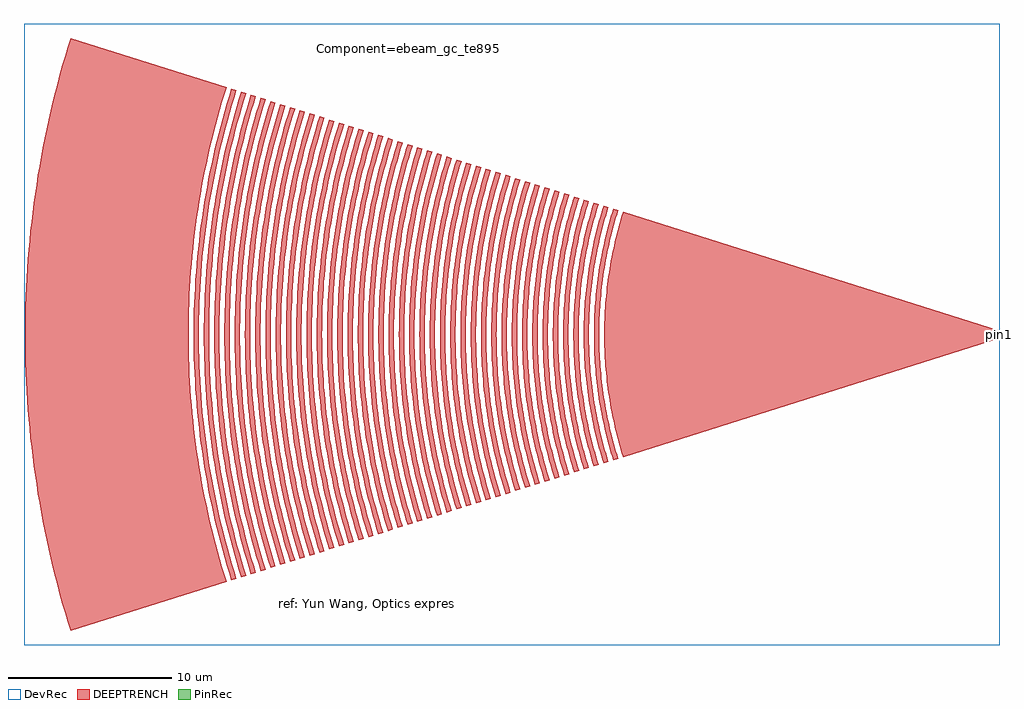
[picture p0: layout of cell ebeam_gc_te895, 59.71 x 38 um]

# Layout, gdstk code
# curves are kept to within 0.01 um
from math import pi, radians
import gdstk
lib = gdstk.Library(unit=1e-6, precision=1e-09)
def R(c, l, rs):  # rectangles x0, y0, x1, y1
    for r in rs: c.add(gdstk.rectangle(r[:2], r[2:], *l))
def P(c, l, *ps):  # polygons
    for p in ps: c.add(gdstk.Polygon(p, *l))
PinRec = (1, 10)
DEEPTRENCH = (4, 0)
DevRec = (68, 0)

input_section = lib.new_cell('input$section')
P(input_section, DEEPTRENCH, [(-1.152,-7.5),(-24.2,-0.225),(-24.2,0.225),(-1.152,7.5),(-0.883,6.586),(-0.65,5.663),(-0.452,4.732),(-0.29,3.794),(-0.163,2.85),(-0.072,1.902),(-0.018,0.952),(0,0),(-0.018,-0.952),(-0.072,-1.902),(-0.163,-2.85),(-0.29,-3.794),(-0.452,-4.732),(-0.65,-5.663),(-0.883,-6.586)])

output_section = lib.new_cell('output$section')
P(output_section, DEEPTRENCH, [(32.65,-18.13),(23.111,-15.13),(23.652,-13.287),(24.123,-11.425),(24.522,-9.546),(24.85,-7.654),(25.105,-5.75),(25.288,-3.838),(25.397,-1.92),(25.434,0),(25.397,1.92),(25.288,3.838),(25.105,5.75),(24.85,7.654),(24.522,9.546),(24.123,11.425),(23.652,13.287),(23.111,15.13),(32.65,18.13),(32.985,17.029),(33.299,15.922),(33.592,14.809),(33.863,13.69),(34.113,12.567),(34.341,11.439),(34.549,10.307),(34.734,9.171),(34.898,8.032),(35.04,6.89),(35.16,5.746),(35.259,4.599),(35.335,3.451),(35.39,2.301),(35.423,1.151),(35.434,0),(35.423,-1.151),(35.39,-2.301),(35.335,-3.451),(35.259,-4.599),(35.16,-5.746),(35.04,-6.89),(34.898,-8.032),(34.734,-9.171),(34.549,-10.307),(34.341,-11.439),(34.113,-12.567),(33.863,-13.69),(33.592,-14.809),(33.299,-15.922),(32.985,-17.029)])

ring = lib.new_cell('ring')
P(ring, DEEPTRENCH, [(-0.552,-7.688),(-0.852,-7.594),(-0.58,-6.669),(-0.344,-5.735),(-0.144,-4.792),(0.021,-3.842),(0.149,-2.886),(0.241,-1.926),(0.296,-0.964),(0.314,0),(0.296,0.964),(0.241,1.926),(0.149,2.886),(0.021,3.842),(-0.144,4.792),(-0.344,5.735),(-0.58,6.669),(-0.852,7.594),(-0.552,7.688),(-0.277,6.752),(-0.038,5.806),(0.165,4.851),(0.331,3.889),(0.461,2.922),(0.554,1.95),(0.609,0.976),(0.628,0),(0.609,-0.976),(0.554,-1.95),(0.461,-2.922),(0.331,-3.889),(0.165,-4.851),(-0.038,-5.806),(-0.277,-6.752)])

ring2 = lib.new_cell('ring2')
P(ring2, DEEPTRENCH, [(0.047,-7.877),(-0.253,-7.783),(0.025,-6.835),(0.268,-5.877),(0.473,-4.91),(0.642,-3.937),(0.773,-2.958),(0.867,-1.974),(0.923,-0.988),(0.942,0),(0.923,0.988),(0.867,1.974),(0.773,2.958),(0.642,3.937),(0.473,4.91),(0.268,5.877),(0.025,6.835),(-0.253,7.783),(0.047,7.877),(0.328,6.917),(0.573,5.948),(0.781,4.97),(0.952,3.985),(1.085,2.993),(1.18,1.998),(1.237,1),(1.256,0),(1.237,-1),(1.18,-1.998),(1.085,-2.993),(0.952,-3.985),(0.781,-4.97),(0.573,-5.948),(0.328,-6.917)])

ring3 = lib.new_cell('ring3')
P(ring3, DEEPTRENCH, [(0.646,-8.065),(0.346,-7.971),(0.631,-7),(0.879,-6.019),(1.09,-5.029),(1.262,-4.032),(1.397,-3.029),(1.493,-2.022),(1.551,-1.012),(1.57,0),(1.551,1.012),(1.493,2.022),(1.397,3.029),(1.262,4.032),(1.09,5.029),(0.879,6.019),(0.631,7),(0.346,7.971),(0.646,8.065),(0.934,7.083),(1.185,6.09),(1.398,5.089),(1.573,4.08),(1.709,3.065),(1.806,2.046),(1.865,1.024),(1.884,0),(1.865,-1.024),(1.806,-2.046),(1.709,-3.065),(1.573,-4.08),(1.398,-5.089),(1.185,-6.09),(0.934,-7.083)])

ring4 = lib.new_cell('ring4')
P(ring4, DEEPTRENCH, [(1.245,-8.254),(0.945,-8.159),(1.237,-7.166),(1.491,-6.161),(1.706,-5.148),(1.883,-4.128),(2.021,-3.101),(2.119,-2.07),(2.178,-1.036),(2.198,0),(2.178,1.036),(2.119,2.07),(2.021,3.101),(1.883,4.128),(1.706,5.148),(1.491,6.161),(1.237,7.166),(0.945,8.159),(1.245,8.254),(1.54,7.248),(1.797,6.232),(2.015,5.208),(2.193,4.175),(2.333,3.137),(2.432,2.094),(2.492,1.048),(2.512,0),(2.492,-1.048),(2.432,-2.094),(2.333,-3.137),(2.193,-4.175),(2.015,-5.208),(1.797,-6.232),(1.54,-7.248)])

ring5 = lib.new_cell('ring5')
P(ring5, DEEPTRENCH, [(1.844,-8.442),(1.544,-8.348),(1.843,-7.331),(2.103,-6.304),(2.323,-5.267),(2.504,-4.223),(2.645,-3.172),(2.745,-2.118),(2.806,-1.06),(2.826,0),(2.806,1.06),(2.745,2.118),(2.645,3.172),(2.504,4.223),(2.323,5.267),(2.103,6.304),(1.843,7.331),(1.544,8.348),(1.844,8.442),(2.146,7.414),(2.408,6.375),(2.631,5.326),(2.814,4.27),(2.957,3.208),(3.058,2.141),(3.12,1.071),(3.14,0),(3.12,-1.071),(3.058,-2.141),(2.957,-3.208),(2.814,-4.27),(2.631,-5.326),(2.408,-6.375),(2.146,-7.414)])

ring6 = lib.new_cell('ring6')
P(ring6, DEEPTRENCH, [(2.443,-8.63),(2.143,-8.536),(2.449,-7.496),(2.714,-6.446),(2.94,-5.386),(3.124,-4.318),(3.268,-3.244),(3.371,-2.165),(3.433,-1.083),(3.454,0),(3.433,1.083),(3.371,2.165),(3.268,3.244),(3.124,4.318),(2.94,5.386),(2.714,6.446),(2.449,7.496),(2.143,8.536),(2.443,8.63),(2.752,7.579),(3.02,6.517),(3.248,5.445),(3.435,4.366),(3.58,3.28),(3.685,2.189),(3.747,1.095),(3.768,0),(3.747,-1.095),(3.685,-2.189),(3.58,-3.28),(3.435,-4.366),(3.248,-5.445),(3.02,-6.517),(2.752,-7.579)])

ring7 = lib.new_cell('ring7')
P(ring7, DEEPTRENCH, [(3.042,-8.819),(2.742,-8.725),(3.055,-7.662),(3.326,-6.588),(3.556,-5.505),(3.745,-4.413),(3.892,-3.316),(3.998,-2.213),(4.061,-1.107),(4.082,0),(4.061,1.107),(3.998,2.213),(3.892,3.316),(3.745,4.413),(3.556,5.505),(3.326,6.588),(3.055,7.662),(2.742,8.725),(3.042,8.819),(3.357,7.745),(3.632,6.659),(3.865,5.564),(4.056,4.461),(4.204,3.351),(4.311,2.237),(4.375,1.119),(4.396,0),(4.375,-1.119),(4.311,-2.237),(4.204,-3.351),(4.056,-4.461),(3.865,-5.564),(3.632,-6.659),(3.357,-7.745)])

ring8 = lib.new_cell('ring8')
P(ring8, DEEPTRENCH, [(3.641,-9.007),(3.342,-8.913),(3.66,-7.827),(3.938,-6.73),(4.173,-5.624),(4.366,-4.509),(4.516,-3.387),(4.624,-2.261),(4.688,-1.131),(4.71,0),(4.688,1.131),(4.624,2.261),(4.516,3.387),(4.366,4.509),(4.173,5.624),(3.938,6.73),(3.66,7.827),(3.342,8.913),(3.641,9.007),(3.963,7.91),(4.243,6.802),(4.481,5.683),(4.676,4.556),(4.828,3.423),(4.937,2.285),(5.002,1.143),(5.024,0),(5.002,-1.143),(4.937,-2.285),(4.828,-3.423),(4.676,-4.556),(4.481,-5.683),(4.243,-6.802),(3.963,-7.91)])

ring9 = lib.new_cell('ring9')
P(ring9, DEEPTRENCH, [(4.24,-9.196),(3.941,-9.101),(4.266,-7.993),(4.549,-6.873),(4.79,-5.742),(4.987,-4.604),(5.14,-3.459),(5.25,-2.309),(5.316,-1.155),(5.338,0),(5.316,1.155),(5.25,2.309),(5.14,3.459),(4.987,4.604),(4.79,5.742),(4.549,6.873),(4.266,7.993),(3.941,9.101),(4.24,9.196),(4.569,8.076),(4.855,6.944),(5.098,5.802),(5.297,4.652),(5.452,3.495),(5.563,2.333),(5.63,1.167),(5.652,0),(5.63,-1.167),(5.563,-2.333),(5.452,-3.495),(5.297,-4.652),(5.098,-5.802),(4.855,-6.944),(4.569,-8.076)])

ring10 = lib.new_cell('ring10')
P(ring10, DEEPTRENCH, [(4.839,-9.384),(4.54,-9.29),(4.872,-8.158),(5.161,-7.015),(5.406,-5.861),(5.607,-4.699),(5.764,-3.53),(5.876,-2.356),(5.944,-1.179),(5.966,0),(5.944,1.179),(5.876,2.356),(5.764,3.53),(5.607,4.699),(5.406,5.861),(5.161,7.015),(4.872,8.158),(4.54,9.29),(4.839,9.384),(5.175,8.241),(5.467,7.086),(5.715,5.921),(5.918,4.747),(6.076,3.566),(6.189,2.38),(6.257,1.191),(6.28,0),(6.257,-1.191),(6.189,-2.38),(6.076,-3.566),(5.918,-4.747),(5.715,-5.921),(5.467,-7.086),(5.175,-8.241)])

ring11 = lib.new_cell('ring11')
P(ring11, DEEPTRENCH, [(5.438,-9.572),(5.139,-9.478),(5.478,-8.324),(5.773,-7.157),(6.023,-5.98),(6.228,-4.795),(6.388,-3.602),(6.502,-2.404),(6.571,-1.203),(6.594,0),(6.571,1.203),(6.502,2.404),(6.388,3.602),(6.228,4.795),(6.023,5.98),(5.773,7.157),(5.478,8.324),(5.139,9.478),(5.438,9.572),(5.781,8.406),(6.078,7.228),(6.331,6.04),(6.538,4.842),(6.7,3.638),(6.815,2.428),(6.885,1.215),(6.908,0),(6.885,-1.215),(6.815,-2.428),(6.7,-3.638),(6.538,-4.842),(6.331,-6.04),(6.078,-7.228),(5.781,-8.406)])

ring12 = lib.new_cell('ring12')
P(ring12, DEEPTRENCH, [(6.037,-9.761),(5.738,-9.667),(6.084,-8.489),(6.384,-7.299),(6.64,-6.099),(6.849,-4.89),(7.012,-3.674),(7.129,-2.452),(7.199,-1.227),(7.222,0),(7.199,1.227),(7.129,2.452),(7.012,3.674),(6.849,4.89),(6.64,6.099),(6.384,7.299),(6.084,8.489),(5.738,9.667),(6.037,9.761),(6.387,8.572),(6.69,7.371),(6.948,6.159),(7.159,4.938),(7.324,3.709),(7.442,2.476),(7.512,1.239),(7.536,0),(7.512,-1.239),(7.442,-2.476),(7.324,-3.709),(7.159,-4.938),(6.948,-6.159),(6.69,-7.371),(6.387,-8.572)])

ring13 = lib.new_cell('ring13')
P(ring13, DEEPTRENCH, [(6.636,-9.949),(6.337,-9.855),(6.689,-8.655),(6.996,-7.442),(7.256,-6.218),(7.47,-4.985),(7.636,-3.745),(7.755,-2.5),(7.826,-1.251),(7.85,0),(7.826,1.251),(7.755,2.5),(7.636,3.745),(7.47,4.985),(7.256,6.218),(6.996,7.442),(6.689,8.655),(6.337,9.855),(6.636,9.949),(6.992,8.737),(7.302,7.513),(7.564,6.277),(7.78,5.033),(7.948,3.781),(8.068,2.524),(8.14,1.263),(8.164,0),(8.14,-1.263),(8.068,-2.524),(7.948,-3.781),(7.78,-5.033),(7.564,-6.277),(7.302,-7.513),(6.992,-8.737)])

ring14 = lib.new_cell('ring14')
P(ring14, DEEPTRENCH, [(7.236,-10.138),(6.936,-10.043),(7.295,-8.82),(7.608,-7.584),(7.873,-6.337),(8.09,-5.081),(8.26,-3.817),(8.381,-2.548),(8.454,-1.275),(8.478,0),(8.454,1.275),(8.381,2.548),(8.26,3.817),(8.09,5.081),(7.873,6.337),(7.608,7.584),(7.295,8.82),(6.936,10.043),(7.236,10.138),(7.598,8.903),(7.914,7.655),(8.181,6.396),(8.401,5.128),(8.572,3.853),(8.694,2.572),(8.767,1.287),(8.792,0),(8.767,-1.287),(8.694,-2.572),(8.572,-3.853),(8.401,-5.128),(8.181,-6.396),(7.914,-7.655),(7.598,-8.903)])

ring15 = lib.new_cell('ring15')
P(ring15, DEEPTRENCH, [(7.835,-10.326),(7.535,-10.232),(7.901,-8.986),(8.219,-7.726),(8.489,-6.456),(8.711,-5.176),(8.884,-3.888),(9.007,-2.595),(9.081,-1.299),(9.106,0),(9.081,1.299),(9.007,2.595),(8.884,3.888),(8.711,5.176),(8.489,6.456),(8.219,7.726),(7.901,8.986),(7.535,10.232),(7.835,10.326),(8.204,9.068),(8.525,7.797),(8.798,6.515),(9.021,5.224),(9.196,3.924),(9.32,2.619),(9.395,1.311),(9.42,0),(9.395,-1.311),(9.32,-2.619),(9.196,-3.924),(9.021,-5.224),(8.798,-6.515),(8.525,-7.797),(8.204,-9.068)])

ring16 = lib.new_cell('ring16')
P(ring16, DEEPTRENCH, [(8.434,-10.514),(8.134,-10.42),(8.507,-9.151),(8.831,-7.868),(9.106,-6.575),(9.332,-5.271),(9.508,-3.96),(9.633,-2.643),(9.709,-1.323),(9.734,0),(9.709,1.323),(9.633,2.643),(9.508,3.96),(9.332,5.271),(9.106,6.575),(8.831,7.868),(8.507,9.151),(8.134,10.42),(8.434,10.514),(8.81,9.234),(9.137,7.94),(9.414,6.634),(9.642,5.319),(9.819,3.996),(9.946,2.667),(10.023,1.335),(10.048,0),(10.023,-1.335),(9.946,-2.667),(9.819,-3.996),(9.642,-5.319),(9.414,-6.634),(9.137,-7.94),(8.81,-9.234)])

ring17 = lib.new_cell('ring17')
P(ring17, DEEPTRENCH, [(9.033,-10.703),(8.733,-10.609),(9.113,-9.316),(9.443,-8.011),(9.723,-6.693),(9.952,-5.366),(10.131,-4.032),(10.259,-2.691),(10.336,-1.346),(10.362,0),(10.336,1.346),(10.259,2.691),(10.131,4.032),(9.952,5.366),(9.723,6.693),(9.443,8.011),(9.113,9.316),(8.733,10.609),(9.033,10.703),(9.416,9.399),(9.749,8.082),(10.031,6.753),(10.263,5.414),(10.443,4.067),(10.573,2.715),(10.65,1.358),(10.676,0),(10.65,-1.358),(10.573,-2.715),(10.443,-4.067),(10.263,-5.414),(10.031,-6.753),(9.749,-8.082),(9.416,-9.399)])

ring18 = lib.new_cell('ring18')
P(ring18, DEEPTRENCH, [(9.632,-10.891),(9.332,-10.797),(9.718,-9.482),(10.054,-8.153),(10.339,-6.812),(10.573,-5.462),(10.755,-4.103),(10.886,-2.739),(10.964,-1.37),(10.99,0),(10.964,1.37),(10.886,2.739),(10.755,4.103),(10.573,5.462),(10.339,6.812),(10.054,8.153),(9.718,9.482),(9.332,10.797),(9.632,10.891),(10.021,9.565),(10.36,8.224),(10.648,6.872),(10.884,5.509),(11.067,4.139),(11.199,2.763),(11.278,1.382),(11.304,0),(11.278,-1.382),(11.199,-2.763),(11.067,-4.139),(10.884,-5.509),(10.648,-6.872),(10.36,-8.224),(10.021,-9.565)])

ring19 = lib.new_cell('ring19')
P(ring19, DEEPTRENCH, [(10.231,-11.08),(9.931,-10.985),(10.324,-9.647),(10.666,-8.295),(10.956,-6.931),(11.194,-5.557),(11.379,-4.175),(11.512,-2.787),(11.591,-1.394),(11.618,0),(11.591,1.394),(11.512,2.787),(11.379,4.175),(11.194,5.557),(10.956,6.931),(10.666,8.295),(10.324,9.647),(9.931,10.985),(10.231,11.08),(10.627,9.73),(10.972,8.366),(11.264,6.991),(11.504,5.605),(11.691,4.211),(11.825,2.811),(11.905,1.406),(11.932,0),(11.905,-1.406),(11.825,-2.811),(11.691,-4.211),(11.504,-5.605),(11.264,-6.991),(10.972,-8.366),(10.627,-9.73)])

ring20 = lib.new_cell('ring20')
P(ring20, DEEPTRENCH, [(10.83,-11.268),(10.53,-11.174),(10.93,-9.813),(11.278,-8.438),(11.573,-7.05),(11.815,-5.652),(12.003,-4.246),(12.138,-2.834),(12.219,-1.418),(12.246,0),(12.219,1.418),(12.138,2.834),(12.003,4.246),(11.815,5.652),(11.573,7.05),(11.278,8.438),(10.93,9.813),(10.53,11.174),(10.83,11.268),(11.233,9.896),(11.584,8.509),(11.881,7.11),(12.125,5.7),(12.315,4.282),(12.451,2.858),(12.533,1.43),(12.56,0),(12.533,-1.43),(12.451,-2.858),(12.315,-4.282),(12.125,-5.7),(11.881,-7.11),(11.584,-8.509),(11.233,-9.896)])

ring21 = lib.new_cell('ring21')
P(ring21, DEEPTRENCH, [(11.429,-11.456),(11.129,-11.362),(11.536,-9.978),(11.889,-8.58),(12.189,-7.169),(12.435,-5.748),(12.627,-4.318),(12.764,-2.882),(12.847,-1.442),(12.874,0),(12.847,1.442),(12.764,2.882),(12.627,4.318),(12.435,5.748),(12.189,7.169),(11.889,8.58),(11.536,9.978),(11.129,11.362),(11.429,11.456),(11.839,10.061),(12.195,8.651),(12.498,7.228),(12.746,5.795),(12.939,4.354),(13.077,2.906),(13.16,1.454),(13.188,0),(13.16,-1.454),(13.077,-2.906),(12.939,-4.354),(12.746,-5.795),(12.498,-7.228),(12.195,-8.651),(11.839,-10.061)])

ring22 = lib.new_cell('ring22')
P(ring22, DEEPTRENCH, [(12.028,-11.645),(11.729,-11.551),(12.142,-10.144),(12.501,-8.722),(12.806,-7.288),(13.056,-5.843),(13.251,-4.39),(13.39,-2.93),(13.474,-1.466),(13.502,0),(13.474,1.466),(13.39,2.93),(13.251,4.39),(13.056,5.843),(12.806,7.288),(12.501,8.722),(12.142,10.144),(11.729,11.551),(12.028,11.645),(12.445,10.226),(12.807,8.793),(13.114,7.347),(13.366,5.891),(13.563,4.425),(13.703,2.954),(13.788,1.478),(13.816,0),(13.788,-1.478),(13.703,-2.954),(13.563,-4.425),(13.366,-5.891),(13.114,-7.347),(12.807,-8.793),(12.445,-10.226)])

ring23 = lib.new_cell('ring23')
P(ring23, DEEPTRENCH, [(12.627,-11.833),(12.328,-11.739),(12.648,-10.668),(12.844,-9.949),(13.027,-9.227),(13.275,-8.137),(13.557,-6.674),(13.732,-5.57),(13.831,-4.831),(13.953,-3.72),(14.043,-2.606),(14.102,-1.49),(14.13,0),(14.102,1.49),(14.043,2.606),(13.953,3.72),(13.831,4.831),(13.732,5.57),(13.557,6.674),(13.275,8.137),(13.027,9.227),(12.844,9.949),(12.648,10.668),(12.328,11.739),(12.627,11.833),(13.05,10.392),(13.419,8.935),(13.731,7.466),(13.987,5.986),(14.187,4.497),(14.33,3.002),(14.415,1.502),(14.444,0),(14.415,-1.502),(14.33,-3.002),(14.187,-4.497),(13.987,-5.986),(13.731,-7.466),(13.419,-8.935),(13.05,-10.392)])

ring24 = lib.new_cell('ring24')
P(ring24, DEEPTRENCH, [(13.226,-12.022),(12.927,-11.927),(13.252,-10.839),(13.451,-10.109),(13.637,-9.375),(13.889,-8.268),(14.109,-7.153),(14.238,-6.407),(14.454,-4.909),(14.578,-3.78),(14.67,-2.648),(14.742,-1.136),(14.758,0),(14.742,1.136),(14.67,2.648),(14.578,3.78),(14.454,4.909),(14.238,6.407),(14.109,7.153),(13.889,8.268),(13.637,9.375),(13.451,10.109),(13.252,10.839),(12.927,11.927),(13.226,12.022),(13.656,10.557),(14.03,9.078),(14.348,7.585),(14.608,6.081),(14.811,4.569),(14.956,3.049),(15.043,1.526),(15.072,0),(15.043,-1.526),(14.956,-3.049),(14.811,-4.569),(14.608,-6.081),(14.348,-7.585),(14.03,-9.078),(13.656,-10.557)])

ring25 = lib.new_cell('ring25')
P(ring25, DEEPTRENCH, [(13.825,-12.21),(13.526,-12.116),(13.75,-11.38),(14.059,-10.269),(14.336,-9.149),(14.503,-8.398),(14.656,-7.644),(14.858,-6.509),(15.077,-4.986),(15.238,-3.457),(15.32,-2.306),(15.37,-1.153),(15.386,0),(15.37,1.153),(15.32,2.306),(15.238,3.457),(15.077,4.986),(14.858,6.509),(14.656,7.644),(14.503,8.398),(14.336,9.149),(14.059,10.269),(13.75,11.38),(13.526,12.116),(13.825,12.21),(14.262,10.723),(14.642,9.22),(14.964,7.704),(15.229,6.177),(15.435,4.64),(15.582,3.097),(15.67,1.55),(15.7,0),(15.67,-1.55),(15.582,-3.097),(15.435,-4.64),(15.229,-6.177),(14.964,-7.704),(14.642,-9.22),(14.262,-10.723)])

ring26 = lib.new_cell('ring26')
P(ring26, DEEPTRENCH, [(14.424,-12.398),(14.125,-12.304),(14.352,-11.557),(14.666,-10.428),(14.948,-9.291),(15.117,-8.529),(15.273,-7.763),(15.478,-6.61),(15.7,-5.064),(15.828,-3.899),(15.923,-2.732),(15.984,-1.562),(16.014,0),(15.984,1.562),(15.923,2.732),(15.828,3.899),(15.7,5.064),(15.478,6.61),(15.273,7.763),(15.117,8.529),(14.948,9.291),(14.666,10.428),(14.352,11.557),(14.125,12.304),(14.424,12.398),(14.868,10.888),(15.254,9.362),(15.581,7.823),(15.849,6.272),(16.059,4.712),(16.208,3.145),(16.298,1.574),(16.328,0),(16.298,-1.574),(16.208,-3.145),(16.059,-4.712),(15.849,-6.272),(15.581,-7.823),(15.254,-9.362),(14.868,-10.888)])

ring27 = lib.new_cell('ring27')
P(ring27, DEEPTRENCH, [(15.023,-12.587),(14.724,-12.493),(15.171,-10.971),(15.468,-9.819),(15.647,-9.047),(15.812,-8.271),(16.032,-7.102),(16.273,-5.535),(16.414,-4.354),(16.55,-2.773),(16.612,-1.586),(16.642,0),(16.612,1.586),(16.55,2.773),(16.414,4.354),(16.273,5.535),(16.032,7.102),(15.889,7.882),(15.647,9.047),(15.468,9.819),(15.171,10.971),(14.724,12.493),(15.023,12.587),(15.474,11.054),(15.865,9.505),(16.198,7.942),(16.47,6.367),(16.682,4.783),(16.834,3.193),(16.926,1.598),(16.956,0),(16.926,-1.598),(16.834,-3.193),(16.682,-4.783),(16.47,-6.367),(16.198,-7.942),(15.865,-9.505),(15.474,-11.054)])

ring28 = lib.new_cell('ring28')
P(ring28, DEEPTRENCH, [(15.623,-12.775),(15.323,-12.681),(15.669,-11.524),(15.881,-10.748),(16.171,-9.576),(16.346,-8.79),(16.651,-7.209),(16.84,-6.017),(16.947,-5.219),(17.079,-4.019),(17.201,-2.414),(17.253,-1.207),(17.27,0),(17.253,1.207),(17.201,2.414),(17.079,4.019),(16.947,5.219),(16.84,6.017),(16.651,7.209),(16.346,8.79),(16.171,9.576),(15.881,10.748),(15.669,11.524),(15.323,12.681),(15.623,12.775),(16.08,11.219),(16.477,9.647),(16.814,8.06),(17.091,6.462),(17.306,4.855),(17.461,3.241),(17.553,1.621),(17.584,0),(17.553,-1.621),(17.461,-3.241),(17.306,-4.855),(17.091,-6.462),(16.814,-8.06),(16.477,-9.647),(16.08,-11.219)])

ring29 = lib.new_cell('ring29')
P(ring29, DEEPTRENCH, [(16.222,-12.964),(15.922,-12.869),(16.16,-12.088),(16.488,-10.907),(16.783,-9.718),(16.96,-8.921),(17.123,-8.12),(17.337,-6.914),(17.57,-5.296),(17.704,-4.078),(17.803,-2.857),(17.867,-1.633),(17.898,0),(17.867,1.633),(17.803,2.857),(17.704,4.078),(17.57,5.296),(17.337,6.914),(17.123,8.12),(16.96,8.921),(16.783,9.718),(16.488,10.907),(16.16,12.088),(15.922,12.869),(16.222,12.964),(16.685,11.385),(17.089,9.789),(17.431,8.179),(17.712,6.558),(17.93,4.927),(18.087,3.288),(18.181,1.645),(18.212,0),(18.181,-1.645),(18.087,-3.288),(17.93,-4.927),(17.712,-6.558),(17.431,-8.179),(17.089,-9.789),(16.685,-11.385)])

ring30 = lib.new_cell('ring30')
P(ring30, DEEPTRENCH, [(16.821,-13.152),(16.521,-13.058),(16.877,-11.867),(17.096,-11.067),(17.486,-9.456),(17.816,-7.831),(18.022,-6.605),(18.14,-5.785),(18.329,-4.138),(18.429,-2.899),(18.508,-1.243),(18.526,0),(18.508,1.243),(18.429,2.899),(18.329,4.138),(18.14,5.785),(18.022,6.605),(17.816,7.831),(17.486,9.456),(17.096,11.067),(16.877,11.867),(16.521,13.058),(16.821,13.152),(17.291,11.55),(17.7,9.931),(18.047,8.298),(18.332,6.653),(18.554,4.998),(18.713,3.336),(18.808,1.669),(18.84,0),(18.808,-1.669),(18.713,-3.336),(18.554,-4.998),(18.332,-6.653),(18.047,-8.298),(17.7,-9.931),(17.291,-11.55)])

ring31 = lib.new_cell('ring31')
P(ring31, DEEPTRENCH, [(17.42,-13.34),(17.12,-13.246),(17.365,-12.442),(17.703,-11.227),(18.099,-9.593),(18.356,-8.358),(18.507,-7.531),(18.762,-5.868),(18.954,-4.198),(19.056,-2.941),(19.136,-1.261),(19.154,0),(19.136,1.261),(19.056,2.941),(18.954,4.198),(18.762,5.868),(18.507,7.531),(18.356,8.358),(18.099,9.593),(17.703,11.227),(17.365,12.442),(17.12,13.246),(17.42,13.34),(17.897,11.715),(18.312,10.074),(18.664,8.417),(18.953,6.748),(19.178,5.07),(19.339,3.384),(19.436,1.693),(19.468,0),(19.436,-1.693),(19.339,-3.384),(19.178,-5.07),(18.953,-6.748),(18.664,-8.417),(18.312,-10.074),(17.897,-11.715)])

ring32 = lib.new_cell('ring32')
P(ring32, DEEPTRENCH, [(18.019,-13.529),(17.719,-13.435),(18.2,-11.798),(18.417,-10.973),(18.712,-9.729),(18.89,-8.895),(19.126,-7.638),(19.385,-5.952),(19.537,-4.682),(19.683,-2.983),(19.75,-1.705),(19.782,0),(19.75,1.705),(19.683,2.983),(19.537,4.682),(19.385,5.952),(19.126,7.638),(18.89,8.895),(18.712,9.729),(18.417,10.973),(18.2,11.798),(17.719,13.435),(18.019,13.529),(18.503,11.881),(18.924,10.216),(19.281,8.536),(19.574,6.844),(19.802,5.141),(19.965,3.432),(20.063,1.717),(20.096,0),(20.063,-1.717),(19.965,-3.432),(19.802,-5.141),(19.574,-6.844),(19.281,-8.536),(18.924,-10.216),(18.503,-11.881)])

ring33 = lib.new_cell('ring33')
P(ring33, DEEPTRENCH, [(18.618,-13.717),(18.318,-13.623),(18.57,-12.796),(18.918,-11.546),(19.13,-10.708),(19.417,-9.443),(19.745,-7.745),(19.948,-6.464),(20.063,-5.607),(20.243,-3.887),(20.336,-2.593),(20.391,-1.297),(20.41,0),(20.391,1.297),(20.336,2.593),(20.243,3.887),(20.063,5.607),(19.948,6.464),(19.745,7.745),(19.417,9.443),(19.13,10.708),(18.918,11.546),(18.57,12.796),(18.318,13.623),(18.618,13.717),(19.109,12.046),(19.535,10.358),(19.897,8.655),(20.194,6.939),(20.426,5.213),(20.591,3.48),(20.691,1.741),(20.724,0),(20.691,-1.741),(20.591,-3.48),(20.426,-5.213),(20.194,-6.939),(19.897,-8.655),(19.535,-10.358),(19.109,-12.046)])

ring34 = lib.new_cell('ring34')
P(ring34, DEEPTRENCH, [(19.217,-13.906),(18.917,-13.811),(19.412,-12.129),(19.74,-10.856),(19.938,-10.002),(20.287,-8.283),(20.505,-6.987),(20.63,-6.119),(20.786,-4.813),(20.936,-3.066),(21.005,-1.753),(21.038,0),(21.005,1.753),(20.936,3.066),(20.786,4.813),(20.63,6.119),(20.505,6.987),(20.287,8.283),(19.938,10.002),(19.74,10.856),(19.412,12.129),(18.917,13.811),(19.217,13.906),(19.714,12.212),(20.147,10.5),(20.514,8.774),(20.815,7.034),(21.05,5.285),(21.218,3.527),(21.318,1.765),(21.352,0),(21.318,-1.765),(21.218,-3.527),(21.05,-5.285),(20.815,-7.034),(20.514,-8.774),(20.147,-10.5),(19.714,-12.212)])

ring35 = lib.new_cell('ring35')
P(ring35, DEEPTRENCH, [(19.816,-14.094),(19.517,-14),(20.017,-12.295),(20.35,-11.004),(20.551,-10.138),(20.736,-9.269),(20.982,-7.959),(21.252,-6.202),(21.455,-4.437),(21.562,-3.108),(21.647,-1.333),(21.666,0),(21.647,1.333),(21.562,3.108),(21.455,4.437),(21.252,6.202),(20.982,7.959),(20.736,9.269),(20.551,10.138),(20.35,11.004),(20.017,12.295),(19.517,14),(19.816,14.094),(20.32,12.377),(20.759,10.643),(21.131,8.893),(21.436,7.13),(21.674,5.356),(21.844,3.575),(21.946,1.789),(21.98,0),(21.946,-1.789),(21.844,-3.575),(21.674,-5.356),(21.436,-7.13),(21.131,-8.893),(20.759,-10.643),(20.32,-12.377)])

ring36 = lib.new_cell('ring36')
P(ring36, DEEPTRENCH, [(20.415,-14.282),(20.116,-14.188),(20.378,-13.327),(20.74,-12.025),(21.164,-10.275),(21.352,-9.394),(21.601,-8.066),(21.874,-6.286),(22.035,-4.944),(22.189,-3.15),(22.26,-1.801),(22.294,0),(22.275,1.351),(22.189,3.15),(22.08,4.496),(21.874,6.286),(21.601,8.066),(21.352,9.394),(21.164,10.275),(20.74,12.025),(20.378,13.327),(20.116,14.188),(20.415,14.282),(20.926,12.543),(21.37,10.785),(21.747,9.011),(22.057,7.225),(22.298,5.428),(22.47,3.623),(22.573,1.813),(22.608,0),(22.573,-1.813),(22.47,-3.623),(22.298,-5.428),(22.057,-7.225),(21.747,-9.011),(21.37,-10.785),(20.926,-12.543)])

ring37 = lib.new_cell('ring37')
P(ring37, DEEPTRENCH, [(21.014,-14.471),(20.715,-14.377),(21.107,-13.065),(21.347,-12.185),(21.777,-10.411),(22.056,-9.071),(22.22,-8.173),(22.497,-6.369),(22.705,-4.556),(22.816,-3.192),(22.887,-1.825),(22.922,0),(22.887,1.825),(22.816,3.192),(22.705,4.556),(22.497,6.369),(22.22,8.173),(22.056,9.071),(21.777,10.411),(21.347,12.185),(21.107,13.065),(20.715,14.377),(21.014,14.471),(21.532,12.708),(21.982,10.927),(22.364,9.13),(22.677,7.32),(22.921,5.499),(23.096,3.671),(23.201,1.837),(23.236,0),(23.201,-1.837),(23.096,-3.671),(22.921,-5.499),(22.677,-7.32),(22.364,-9.13),(21.982,-10.927),(21.532,-12.708)])

ring38 = lib.new_cell('ring38')
P(ring38, DEEPTRENCH, [(21.613,-14.659),(21.314,-14.565),(21.835,-12.791),(22.07,-11.897),(22.39,-10.548),(22.758,-8.735),(22.988,-7.368),(23.119,-6.453),(23.284,-5.076),(23.442,-3.234),(23.515,-1.849),(23.55,0),(23.515,1.849),(23.442,3.234),(23.284,5.076),(23.119,6.453),(22.839,8.28),(22.583,9.643),(22.39,10.548),(22.07,11.897),(21.835,12.791),(21.314,14.565),(21.613,14.659),(22.138,12.874),(22.594,11.069),(22.981,9.249),(23.298,7.415),(23.545,5.571),(23.722,3.719),(23.829,1.861),(23.864,0),(23.829,-1.861),(23.722,-3.719),(23.545,-5.571),(23.298,-7.415),(22.981,-9.249),(22.594,-11.069),(22.138,-12.874)])

ring39 = lib.new_cell('ring39')
P(ring39, DEEPTRENCH, [(22.212,-14.848),(21.913,-14.753),(22.441,-12.956),(22.679,-12.051),(23.003,-10.684),(23.375,-8.848),(23.535,-7.926),(23.742,-6.536),(23.909,-5.141),(24.069,-3.275),(24.158,-1.405),(24.178,0),(24.158,1.405),(24.069,3.275),(23.909,5.141),(23.742,6.536),(23.535,7.926),(23.375,8.848),(23.003,10.684),(22.679,12.051),(22.441,12.956),(21.913,14.753),(22.212,14.848),(22.743,13.039),(23.205,11.212),(23.597,9.368),(23.919,7.511),(24.169,5.643),(24.348,3.766),(24.456,1.885),(24.492,0),(24.456,-1.885),(24.348,-3.766),(24.169,-5.643),(23.919,-7.511),(23.597,-9.368),(23.205,-11.212),(22.743,-13.039)])

ring40 = lib.new_cell('ring40')
P(ring40, DEEPTRENCH, [(22.811,-15.036),(22.512,-14.942),(22.788,-14.034),(23.169,-12.664),(23.616,-10.82),(23.814,-9.893),(24.076,-8.495),(24.364,-6.62),(24.533,-5.207),(24.695,-3.317),(24.786,-1.423),(24.806,0),(24.786,1.423),(24.695,3.317),(24.533,5.207),(24.364,6.62),(24.076,8.495),(23.814,9.893),(23.616,10.82),(23.169,12.664),(22.788,14.034),(22.512,14.942),(22.811,15.036),(23.349,13.205),(23.817,11.354),(24.214,9.487),(24.539,7.606),(24.793,5.714),(24.975,3.814),(25.084,1.908),(25.12,0),(25.084,-1.908),(24.975,-3.814),(24.793,-5.714),(24.539,-7.606),(24.214,-9.487),(23.817,-11.354),(23.349,-13.205)])

grating = lib.new_cell('grating')
grating.add(gdstk.Reference(ring, (0,0)))
grating.add(gdstk.Reference(ring2, (0,0)))
grating.add(gdstk.Reference(ring3, (0,0)))
grating.add(gdstk.Reference(ring4, (0,0)))
grating.add(gdstk.Reference(ring5, (0,0)))
grating.add(gdstk.Reference(ring6, (0,0)))
grating.add(gdstk.Reference(ring7, (0,0)))
grating.add(gdstk.Reference(ring8, (0,0)))
grating.add(gdstk.Reference(ring9, (0,0)))
grating.add(gdstk.Reference(ring10, (0,0)))
grating.add(gdstk.Reference(ring11, (0,0)))
grating.add(gdstk.Reference(ring12, (0,0)))
grating.add(gdstk.Reference(ring13, (0,0)))
grating.add(gdstk.Reference(ring14, (0,0)))
grating.add(gdstk.Reference(ring15, (0,0)))
grating.add(gdstk.Reference(ring16, (0,0)))
grating.add(gdstk.Reference(ring17, (0,0)))
grating.add(gdstk.Reference(ring18, (0,0)))
grating.add(gdstk.Reference(ring19, (0,0)))
grating.add(gdstk.Reference(ring20, (0,0)))
grating.add(gdstk.Reference(ring21, (0,0)))
grating.add(gdstk.Reference(ring22, (0,0)))
grating.add(gdstk.Reference(ring23, (0,0)))
grating.add(gdstk.Reference(ring24, (0,0)))
grating.add(gdstk.Reference(ring25, (0,0)))
grating.add(gdstk.Reference(ring26, (0,0)))
grating.add(gdstk.Reference(ring27, (0,0)))
grating.add(gdstk.Reference(ring28, (0,0)))
grating.add(gdstk.Reference(ring29, (0,0)))
grating.add(gdstk.Reference(ring30, (0,0)))
grating.add(gdstk.Reference(ring31, (0,0)))
grating.add(gdstk.Reference(ring32, (0,0)))
grating.add(gdstk.Reference(ring33, (0,0)))
grating.add(gdstk.Reference(ring34, (0,0)))
grating.add(gdstk.Reference(ring35, (0,0)))
grating.add(gdstk.Reference(ring36, (0,0)))
grating.add(gdstk.Reference(ring37, (0,0)))
grating.add(gdstk.Reference(ring38, (0,0)))
grating.add(gdstk.Reference(ring39, (0,0)))
grating.add(gdstk.Reference(ring40, (0,0)))

ebeam_gc_te895 = lib.new_cell('ebeam_gc_te895')
R(ebeam_gc_te895, PinRec, [(-0.01,-0.225,0.01,0.225)])
R(ebeam_gc_te895, DevRec, [(-59.7,-19,0,19)])
ebeam_gc_te895.add(gdstk.Reference(input_section, (-24.2,0), rotation=pi))
ebeam_gc_te895.add(gdstk.Reference(output_section, (-24.2,0), rotation=pi))
ebeam_gc_te895.add(gdstk.Reference(grating, (-24.2,0), rotation=pi))
ebeam_gc_te895.add(gdstk.Label('pin1', (0,0), layer=1, texttype=10))
ebeam_gc_te895.add(gdstk.Label('ref: Yun Wang, Optics express, 08/2014 http://dx.doi.org/10.1364/OE.22.020652\n modified: M Pennacchietti, 2023', (-38.758,-16.44), layer=10, texttype=0))
ebeam_gc_te895.add(gdstk.Label('Component=ebeam_gc_te895', (-36.17,17.5), layer=10, texttype=0))

lib.write_gds('ebeam_gc_te895.gds')
